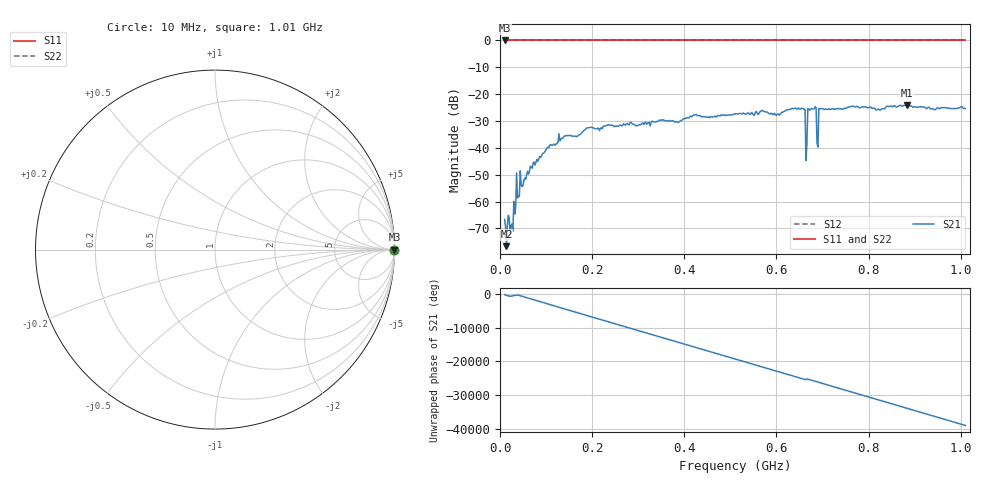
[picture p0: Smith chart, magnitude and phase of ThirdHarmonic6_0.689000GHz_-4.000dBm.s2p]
! 8/15/2025 10:59:49 PM
! C:\ANRITSUVNA\TEMP\TEMP.S2P
! CHANNEL.1
! TR.MEASUREMENT
! RAW.DATA
! RF.CORRECTION.OFF
! AVERAGING.OFF
! IF.BANDWIDTH: 5KHZ
! SWEEPTYPE:  FREQ.SWEEP(Linear)
! Reference Plane Port Info
! PORT:  PORT1  PORT2
! DISTANCE:  0  m  0  m
! TIME:  0  s  0  s
! PHASE.OFFSET:  0  deg.  0  deg.
! LOSS:  0  dB  0  dB
! REF.LOSS:  0  dB  0  dB
! REF.FREQ:  0  Hz  0  Hz
! Power Info
! POWER:  -20  dBm  -20  dBm
! EFF.POWER:  -20  dBm  -20  dBm
! SOURCE.ATTEN:  0  dB  0  dB
! TEST.ATTEN:  0  dB  0  dB
# GHZ S RI R 50.0
! FREQ.GHZ  S11RE  S11IM  S21RE  S21IM  S12RE  S12IM  S22RE  S22IM
!; PortSelection: Port_12
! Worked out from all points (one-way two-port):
!   501 points, 10 MHz to 1.01 GHz, reference 50 ohm
!   highest |S21| = -24.07 dB at 884 MHz (marker M1); lowest = -76.6 dB at 14 MHz (marker M2)
!   lowest |S11| = 0.0 dB at 10 MHz (marker M3)
!   |S11| at or under -10 dB: nowhere
!   |S22| runs from 0.0 to 0.0 dB; largest |S21 - S12| = 1.1
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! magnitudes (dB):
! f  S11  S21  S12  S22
! 10 MHz  0.0  -66.6  0.0  0.0
! 14 MHz  0.0  -76.6  0.0  0.0
! 24 MHz  0.0  -68.9  0.0  0.0
! 40 MHz  0.0  -58.1  0.0  0.0
! 70 MHz  0.0  -47.6  0.0  0.0
! 132 MHz  0.0  -36.7  0.0  0.0
! 178 MHz  0.0  -34.3  0.0  0.0
! 344 MHz  0.0  -30.0  0.0  0.0
! 510 MHz  0.0  -27.4  0.0  0.0
! 602 MHz  0.0  -27.4  0.0  0.0
! 658 MHz  0.0  -25.4  0.0  0.0
! 662 MHz  0.0  -25.7  0.0  0.0
! 668 MHz  0.0  -25.5  0.0  0.0
! 672 MHz  0.0  -26.0  0.0  0.0
! 678 MHz  0.0  -25.5  0.0  0.0
! 682 MHz  0.0  -25.4  0.0  0.0
! 686 MHz  0.0  -25.1  0.0  0.0
! 692 MHz  0.0  -25.3  0.0  0.0
! 696 MHz  0.0  -25.5  0.0  0.0
! 844 MHz  0.0  -24.6  0.0  0.0
! 884 MHz  0.0  -24.1  0.0  0.0
! 1.01 GHz  0.0  -25.4  0.0  0.0
